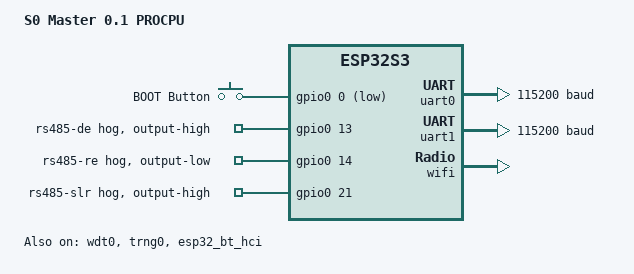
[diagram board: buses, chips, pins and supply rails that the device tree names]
/*
 * S0 Master 0.1 - ESP32-S3-WROOM-1 with RS-485 downlink to the IR Interface
 * KiCad project "s0_master"
 *
 * SPDX-License-Identifier: Apache-2.0
 */

/dts-v1/;

#include <espressif/esp32s3/esp32s3_wroom_n4r2.dtsi>
#include <zephyr/dt-bindings/input/input-event-codes.h>
#include <espressif/partitions_0x0_amp_4M.dtsi>
#include "s0_master-pinctrl.dtsi"

/ {
	model = "S0 Master 0.1 PROCPU";
	compatible = "espressif,esp32s3";

	aliases {
		uart-0 = &uart0;
		rs485-uart = &uart1;
		watchdog0 = &wdt0;
		sw0 = &button0;
	};

	chosen {
		zephyr,sram = &sram1;
		zephyr,console = &uart0;
		zephyr,shell-uart = &uart0;
		zephyr,flash = &flash0;
		zephyr,code-partition = &slot0_partition;
		zephyr,bt-hci = &esp32_bt_hci;
	};

	/* second Wi-Fi interface, used for the setup access point */
	wifi_ap: wifi_ap {
		compatible = "espressif,esp32-wifi";
		status = "okay";
	};

	buttons {
		compatible = "gpio-keys";

		/* SW2; also the boot strapping pin */
		button0: button_0 {
			gpios = <&gpio0 0 (GPIO_PULL_UP | GPIO_ACTIVE_LOW)>;
			label = "BOOT Button";
			zephyr,code = <INPUT_KEY_0>;
		};
	};
};

/* USB D+/D- are not routed: the USB-C connector only supplies power. */
&usb_serial {
	status = "disabled";
};

&uart0 {
	status = "okay";
	current-speed = <115200>;
	pinctrl-0 = <&uart0_default>;
	pinctrl-names = "default";
};

/*
 * RS-485 downlink (THVD1424, hard-wired full duplex, both terminations on).
 *
 * With a straight-through RJ45 cable the differential pairs arrive with
 * swapped polarity on both boards (Y/Z of one side land on B/A of the
 * other). Each board therefore inverts its own transmitter.
 */
&uart1 {
	status = "okay";
	current-speed = <115200>;
	pinctrl-0 = <&uart1_default>;
	pinctrl-names = "default";
	tx-invert;
};

&gpio0 {
	status = "okay";

	/* THVD1424 DE: point-to-point full duplex, driver always on */
	rs485-de {
		gpio-hog;
		gpios = <13 GPIO_ACTIVE_HIGH>;
		output-high;
	};

	/* THVD1424 /RE: receiver always on */
	rs485-re {
		gpio-hog;
		gpios = <14 GPIO_ACTIVE_HIGH>;
		output-low;
	};

	/* THVD1424 SLR: high = slew-rate limited (up to 500 kbit/s) */
	rs485-slr {
		gpio-hog;
		gpios = <21 GPIO_ACTIVE_HIGH>;
		output-high;
	};
};

&gpio1 {
	status = "okay";
};

&timer0 {
	status = "disabled";
};

&timer1 {
	status = "disabled";
};

&timer2 {
	status = "disabled";
};

&timer3 {
	status = "disabled";
};

&wdt0 {
	status = "okay";
};

&trng0 {
	status = "okay";
};

&esp32_bt_hci {
	status = "okay";
};

&wifi {
	status = "okay";
};
